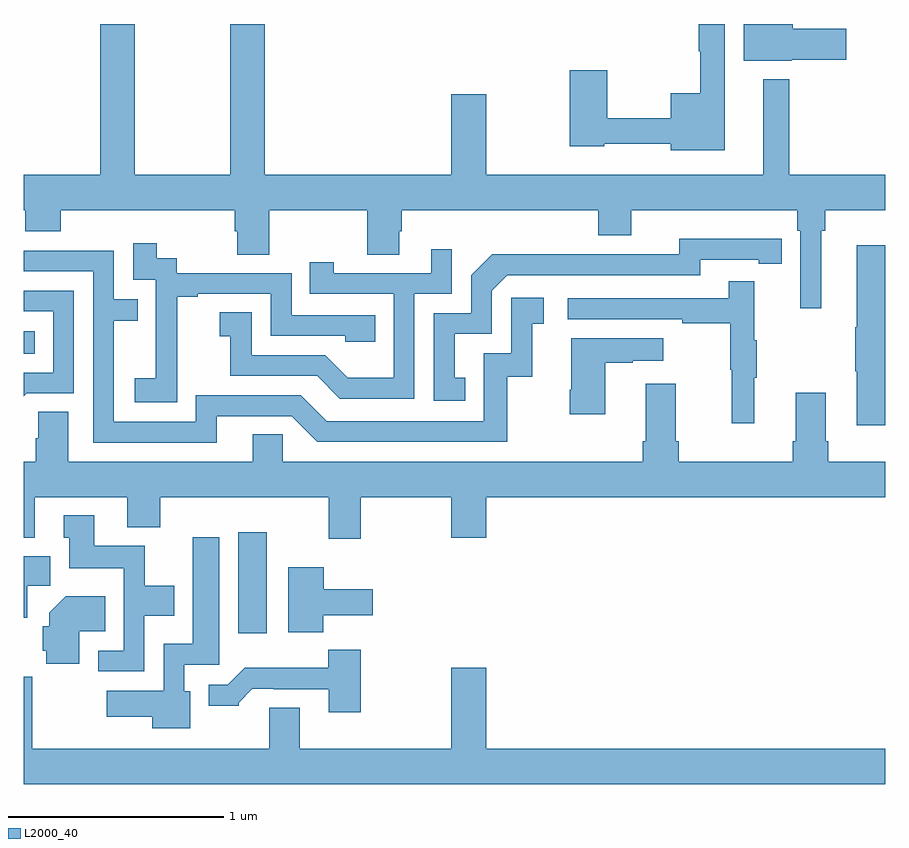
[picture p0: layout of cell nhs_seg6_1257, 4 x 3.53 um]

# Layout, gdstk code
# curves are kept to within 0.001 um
import gdstk
lib = gdstk.Library(unit=1e-6, precision=1e-09)
def R(c, l, rs):  # rectangles x0, y0, x1, y1
    for r in rs: c.add(gdstk.rectangle(r[:2], r[2:], *l))
def P(c, l, *ps):  # polygons
    for p in ps: c.add(gdstk.Polygon(p, *l))
L2000_40 = (2000, 40)

nhs_seg6_1257 = lib.new_cell('nhs_seg6_1257')
R(nhs_seg6_1257, L2000_40, [(187.997,978.672,188.128,979.141), (187,979.97,187.052,980.074)])
P(nhs_seg6_1257, L2000_40, [(190.566,981.335),(190.819,981.335),(190.819,981.477),(190.57,981.477),(190.57,981.5),(190.343,981.5),(190.343,981.329),(190.566,981.329)],
  [(190.702,980.54),(190.721,980.54),(190.721,980.636),(191,980.636),(191,980.8),(190.555,980.8),(190.555,981.244),(190.433,981.244),(190.433,980.8),(189.148,980.8),(189.148,981.175),(188.984,981.175),(188.984,980.8),(188.12,980.8),(188.12,981.5),(187.96,981.5),(187.96,980.8),(187.515,980.8),(187.515,981.5),(187.355,981.5),(187.355,980.8),(187,980.8),(187,980.636),(187.007,980.636),(187.007,980.537),(187.172,980.537),(187.172,980.636),(187.979,980.636),(187.979,980.538),(187.991,980.538),(187.991,980.428),(188.139,980.428),(188.139,980.636),(188.596,980.636),(188.596,980.428),(188.743,980.428),(188.743,980.538),(188.756,980.538),(188.756,980.636),(189.668,980.636),(189.668,980.519),(189.82,980.519),(189.82,980.636),(190.592,980.636),(190.592,980.54),(190.605,980.54),(190.605,980.181),(190.702,980.181)],
  [(190.255,981.5),(190.134,981.5),(190.134,981.374),(190.141,981.374),(190.141,981.178),(190.004,981.178),(190.004,981.062),(189.708,981.062),(189.708,981.286),(189.535,981.286),(189.535,980.933),(189.696,980.933),(189.696,980.945),(190.004,980.945),(190.004,980.915),(190.255,980.915)],
  [(189.05,979.857),(189.001,979.857),(189.001,980.061),(189.174,980.061),(189.174,980.262),(189.246,980.334),(190.14,980.334),(190.14,980.406),(190.412,980.406),(190.412,980.386),(190.52,980.386),(190.52,980.502),(190.044,980.503),(190.044,980.43),(189.584,980.43),(189.584,980.432),(189.176,980.432),(189.078,980.334),(189.078,980.157),(188.904,980.157),(188.904,979.752),(189.05,979.752)],
  [(187.713,979.951),(187.712,979.951),(187.712,980.235),(187.807,980.235),(187.807,980.247),(188.148,980.247),(188.148,980.052),(188.493,980.052),(188.493,980.025),(188.633,980.025),(188.633,980.148),(188.244,980.148),(188.244,980.343),(187.71,980.343),(187.71,980.412),(187.618,980.412),(187.618,980.482),(187.509,980.482),(187.509,980.313),(187.614,980.313),(187.614,980.084),(187.613,980.084),(187.613,979.855),(187.515,979.855),(187.515,979.745),(187.713,979.745)],
  [(191,980.473),(190.868,980.473),(190.868,980.093),(190.861,980.093),(190.861,979.887),(190.868,979.887),(190.868,979.638),(191,979.638)],
  [(188.814,980.247),(188.988,980.247),(188.988,980.455),(188.891,980.455),(188.891,980.343),(188.44,980.343),(188.44,980.395),(188.329,980.395),(188.329,980.247),(188.718,980.247),(188.718,979.858),(188.504,979.858),(188.4,979.962),(188.058,979.962),(188.058,980.161),(187.911,980.161),(187.911,980.051),(187.96,980.051),(187.96,979.866),(188.363,979.866),(188.468,979.761),(188.814,979.761)],
  [(187.897,979.68),(188.244,979.68),(188.364,979.56),(189.244,979.56),(189.244,979.863),(189.362,979.863),(189.362,980.109),(189.415,980.109),(189.415,980.23),(189.264,980.23),(189.264,979.971),(189.135,979.971),(189.135,979.656),(188.406,979.656),(188.286,979.776),(187.8,979.776),(187.8,979.653),(187.419,979.653),(187.419,980.122),(187.529,980.122),(187.529,980.223),(187.419,980.223),(187.419,980.448),(187,980.448),(187,980.352),(187.323,980.352),(187.323,979.557),(187.897,979.557)],
  [(190.391,979.859),(190.402,979.859),(190.402,980.033),(190.391,980.033),(190.391,980.305),(190.273,980.305),(190.273,980.226),(189.525,980.226),(189.525,980.13),(190.057,980.13),(190.057,980.11),(190.281,980.11),(190.281,979.896),(190.288,979.896),(190.288,979.647),(190.391,979.647)],
  [(187.014,979.785),(187.233,979.785),(187.233,980.262),(187,980.262),(187,980.166),(187.137,980.166),(187.137,979.881),(187,979.881),(187,979.771)],
  [(189.7,979.927),(189.827,979.927),(189.827,979.937),(189.97,979.937),(189.97,980.041),(189.542,980.041),(189.542,979.801),(189.535,979.801),(189.535,979.689),(189.7,979.689)],
  [(188.565,979.304),(188.984,979.304),(188.984,979.116),(189.148,979.116),(189.148,979.304),(191,979.304),(191,979.468),(190.736,979.468),(190.736,979.564),(190.723,979.564),(190.723,979.789),(190.583,979.789),(190.583,979.564),(190.571,979.564),(190.571,979.468),(190.04,979.468),(190.04,979.564),(190.027,979.564),(190.027,979.831),(189.887,979.831),(189.887,979.564),(189.875,979.564),(189.875,979.468),(188.202,979.468),(188.202,979.595),(188.063,979.595),(188.063,979.468),(187.207,979.468),(187.207,979.7),(187.068,979.7),(187.068,979.577),(187.055,979.577),(187.055,979.468),(187,979.468),(187,979.115),(187.051,979.115),(187.051,979.304),(187.481,979.304),(187.481,979.163),(187.634,979.163),(187.634,979.304),(188.417,979.304),(188.417,979.11),(188.565,979.11)],
  [(187.56,978.752),(187.699,978.752),(187.699,978.892),(187.563,978.892),(187.563,979.078),(187.327,979.078),(187.327,979.219),(187.187,979.219),(187.187,979.116),(187.211,979.116),(187.211,978.974),(187.464,978.974),(187.464,978.591),(187.347,978.591),(187.347,978.495),(187.56,978.495)],
  [(187.774,978.402),(187.746,978.402),(187.746,978.525),(187.909,978.525),(187.909,979.117),(187.784,979.117),(187.784,978.622),(187.65,978.622),(187.65,978.406),(187.386,978.406),(187.386,978.284),(187.598,978.284),(187.598,978.23),(187.774,978.23)],
  [(187.017,978.892),(187.123,978.892),(187.123,979.03),(187,979.03),(187,978.744),(187.017,978.744)],
  [(188.39,978.755),(188.62,978.755),(188.62,978.877),(188.392,978.877),(188.392,978.979),(188.228,978.979),(188.228,978.677),(188.39,978.677)],
  [(187.258,978.68),(187.379,978.68),(187.379,978.844),(187.196,978.844),(187.118,978.766),(187.118,978.705),(187.089,978.705),(187.089,978.591),(187.106,978.591),(187.106,978.53),(187.258,978.53)],
  [(188.565,978.595),(188.415,978.595),(188.415,978.511),(188.026,978.511),(187.947,978.432),(187.859,978.432),(187.859,978.335),(187.998,978.335),(187.998,978.35),(188.062,978.414),(188.161,978.414),(188.161,978.411),(188.417,978.411),(188.417,978.306),(188.565,978.306)],
  [(191,978.136),(189.148,978.136),(189.148,978.511),(188.984,978.511),(188.984,978.136),(188.281,978.136),(188.281,978.326),(188.141,978.326),(188.141,978.136),(187.039,978.136),(187.039,978.469),(187,978.469),(187,977.972),(191,977.972)])

lib.write_gds('nhs_seg6_1257.gds')
